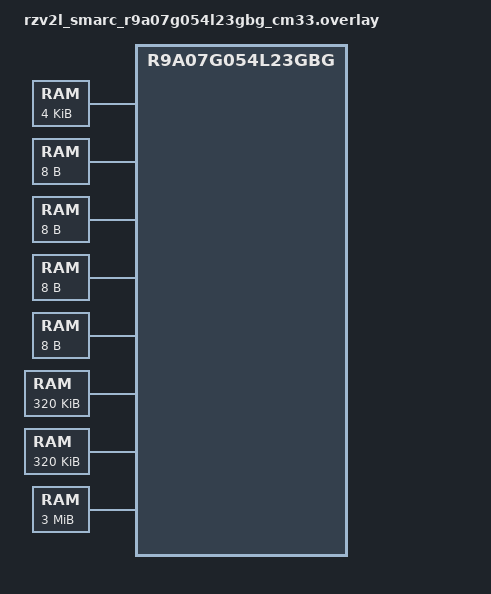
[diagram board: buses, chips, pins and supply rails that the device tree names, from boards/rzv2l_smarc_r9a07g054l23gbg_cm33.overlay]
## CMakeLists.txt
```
cmake_minimum_required(VERSION 3.28.0)
# Copyright (c) 2025 Renesas Electronics Corporation
#
# SPDX-License-Identifier: Apache-2.0
#

find_package(Zephyr REQUIRED HINTS $ENV{ZEPHYR_BASE})

project(openamp_linux_zephyr)

# METAL_MAX_DEVICE_REGIONS is used to give the number of memory regions shared
# between processors. By default only one region is defined for the vrings
# and rpmsg buffers. The METAL_MAX_DEVICE_REGIONS has to be redefined to add a
# second region for the resource table.
zephyr_compile_definitions(METAL_MAX_DEVICE_REGIONS=2)

target_include_directories(app PRIVATE ${LIBMETAL_INCLUDE_DIR} ${OPENAMP_INCLUDE_DIR} ${PLATFORM_DIR})
target_include_directories(app PRIVATE src)

target_sources(app PRIVATE src/resource_table.c src/main_remote.c)
```

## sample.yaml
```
sample:
  description: Enable message exchange between two cores, with the application core running Linux
   and the real-time core running Zephyr, using the OpenAMP library.
  name: OpenAMP Linux Zephyr RPMsg
tests:
  sample.boards.renesas.openamp_linux_zephyr:
    build_only: true
    platform_allow:
      - rzg3s_smarc/r9a08g045s33gbg/cm33
    integration_platforms:
      - rzg3s_smarc/r9a08g045s33gbg/cm33
    tags:
      - mbox
      - openamp
```

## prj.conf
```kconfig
CONFIG_KERNEL_BIN_NAME="openamp_linux_zephyr"
CONFIG_LOG=y
CONFIG_LOG_MODE_MINIMAL=y
CONFIG_MBOX=y
CONFIG_HEAP_MEM_POOL_SIZE=16384
CONFIG_OPENAMP=y
CONFIG_OPENAMP_RSC_TABLE=n
```

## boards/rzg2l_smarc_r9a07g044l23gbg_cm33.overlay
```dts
/*
 * Copyright (c) 2025 Renesas Electronics Corporation
 * SPDX-License-Identifier: Apache-2.0
 */

/ {
	/*
	 * Allocating whole openamp region as reserved memory
	 * to save MPU entries
	 */
	reserved-memory {
		#address-cells = <1>;
		#size-cells = <1>;
		ranges;

		openamp_shm: memory-region@62f00000 {
			compatible = "zephyr,memory-region";
			reg = <0x62f00000 0x900000>;
			zephyr,memory-region = "openamp_memory";
			zephyr,memory-attr = <DT_MEM_ARM(ATTR_MPU_IO)>;
		};
	};

	chosen {
		zephyr,ipc_shm = &vring_shm0;
		zephyr,ipc = &mbox_consumer;
	};

	/* Memory region for MBOX (MHU) driver */
	mhu_shmem: memory-region@62f01000 {
		compatible = "zephyr,memory-region";
		reg = <0x62f01000 0x1000>;
		zephyr,memory-region = "mhu_shmem";
	};

	vring_ctrl0: memory@63000000 {
		compatible = "mmio-sram";
		reg = <0x63000000 0x50000>;
	};

	vring_ctrl1: memory@63050000 {
		compatible = "mmio-sram";
		reg = <0x63050000 0x50000>;
	};

	vring_shm0: memory@63200000 {
		compatible = "mmio-sram";
		reg = <0x63200000 0x300000>;
	};

	rsctbl: memory@62f00000 {
		compatible = "mmio-sram";
		reg = <0x62f00000 0x1000>;
	};

	mbox_consumer: mbox-consumer {
		compatible = "vnd,mbox-consumer";
		mboxes = <&mbox1 0>, <&mbox1 0>;
		mbox-names = "tx", "rx";
	};
};

&mbox1 {
	status = "okay";
};
```

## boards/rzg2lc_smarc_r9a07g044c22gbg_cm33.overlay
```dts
/*
 * Copyright (c) 2025 Renesas Electronics Corporation
 * SPDX-License-Identifier: Apache-2.0
 */

/ {
	/*
	 * Allocating whole openamp region as reserved memory
	 * to save MPU entries
	 */
	reserved-memory {
		ranges;
		#address-cells = <1>;
		#size-cells = <1>;

		openamp_shm: memory-region@62f00000 {
			compatible = "zephyr,memory-region";
			reg = <0x62f00000 0x900000>;
			zephyr,memory-region = "openamp_memory";
			zephyr,memory-attr = <DT_MEM_ARM(ATTR_MPU_IO)>;
		};
	};

	chosen {
		zephyr,ipc_shm = &vring_shm0;
		zephyr,ipc = &mbox_consumer;
	};

	mbox_consumer: mbox-consumer {
		compatible = "vnd,mbox-consumer";
		mboxes = <&mbox1 0>, <&mbox1 0>;
		mbox-names = "tx", "rx";
	};

	rsctbl: memory@62f00000 {
		compatible = "mmio-sram";
		reg = <0x62f00000 0x1000>;
	};

	/* Memory region for MBOX (MHU) driver */
	mhu_shmem: memory-region@62f01000 {
		compatible = "zephyr,memory-region";
		reg = <0x62f01000 0x1000>;
		zephyr,memory-region = "mhu_shmem";
	};

	vring_ctrl0: memory@63000000 {
		compatible = "mmio-sram";
		reg = <0x63000000 0x50000>;
	};

	vring_ctrl1: memory@63050000 {
		compatible = "mmio-sram";
		reg = <0x63050000 0x50000>;
	};

	vring_shm0: memory@63200000 {
		compatible = "mmio-sram";
		reg = <0x63200000 0x300000>;
	};
};

&mbox1 {
	status = "okay";
};
```

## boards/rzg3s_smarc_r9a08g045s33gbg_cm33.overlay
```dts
/*
 * Copyright (c) 2024 Epam Systems
 * Copyright (c) 2024-2025 Renesas Electronics Corporation
 * SPDX-License-Identifier: Apache-2.0
 */

/ {
	/*
	 * Allocating whole openamp region as reserved memory
	 * to save MPU entries
	 */
	reserved-memory {
		ranges;
		#address-cells = <1>;
		#size-cells = <1>;

		openamp_shm: memory-region@62f00000 {
			compatible = "zephyr,memory-region";
			reg = <0x62f00000 0x600000>;
			zephyr,memory-region = "openamp_memory";
			zephyr,memory-attr = <DT_MEM_ARM(ATTR_MPU_IO)>;
		};
	};

	chosen {
		zephyr,ipc_shm = &vring_shm0;
		zephyr,ipc = &mbox_consumer;
	};

	mbox_consumer: mbox-consumer {
		compatible = "vnd,mbox-consumer";
		mboxes = <&mbox1 0>, <&mbox1 0>;
		mbox-names = "tx", "rx";
	};

	rsctbl: memory@62f00000 {
		compatible = "mmio-sram";
		reg = <0x62f00000 0x1000>;
	};

	/* Memory region for MBOX (MHU) driver */
	mhu_shmem: memory-region@62f01000 {
		compatible = "zephyr,memory-region";
		reg = <0x62f01000 0x1000>;
		zephyr,memory-region = "mhu_shmem";
	};

	vring_ctrl0: memory@63000000 {
		compatible = "mmio-sram";
		reg = <0x63000000 0x50000>;
	};

	vring_ctrl1: memory@63050000 {
		compatible = "mmio-sram";
		reg = <0x63050000 0x50000>;
	};

	vring_shm0: memory@63200000 {
		compatible = "mmio-sram";
		reg = <0x63200000 0x300000>;
	};
};

&mbox1 {
	status = "okay";
};
```

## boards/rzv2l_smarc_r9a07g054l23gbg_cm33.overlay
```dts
/*
 * Copyright (c) 2025 Renesas Electronics Corporation
 * SPDX-License-Identifier: Apache-2.0
 */

/ {
	/*
	 * Allocating whole openamp region as reserved memory
	 * to save MPU entries
	 */
	reserved-memory {
		ranges;
		#address-cells = <1>;
		#size-cells = <1>;

		openamp_shm: memory-region@62f00000 {
			compatible = "zephyr,memory-region";
			reg = <0x62f00000 0x900000>;
			zephyr,memory-region = "openamp_memory";
			zephyr,memory-attr = <DT_MEM_ARM(ATTR_MPU_IO)>;
		};
	};

	chosen {
		zephyr,ipc_shm = &vring_shm0;
		zephyr,ipc = &mbox_consumer;
	};

	mbox_consumer: mbox-consumer {
		compatible = "vnd,mbox-consumer";
		mboxes = <&mbox1 1>, <&mbox1 0>;
		mbox-names = "tx", "rx";
	};

	rsctbl: memory@62f00000 {
		compatible = "mmio-sram";
		reg = <0x62f00000 0x1000>;
	};

	mhu1_shm: memory@62f01008 {
		compatible = "mmio-sram";
		reg = <0x62f01008 0x8>;
	};

	mhu3_shm: memory@62f01018 {
		compatible = "mmio-sram";
		reg = <0x62f01018 0x8>;
	};

	mhu4_shm: memory@62f01020 {
		compatible = "mmio-sram";
		reg = <0x62f01020 0x8>;
	};

	mhu5_shm: memory@62f01028 {
		compatible = "mmio-sram";
		reg = <0x62f01028 0x8>;
	};

	vring_ctrl0: memory@63000000 {
		compatible = "mmio-sram";
		reg = <0x63000000 0x50000>;
	};

	vring_ctrl1: memory@63050000 {
		compatible = "mmio-sram";
		reg = <0x63050000 0x50000>;
	};

	vring_shm0: memory@63200000 {
		compatible = "mmio-sram";
		reg = <0x63200000 0x300000>;
	};
};

&mbox1 {
	shared-memory = <&mhu1_shm>;
	status = "okay";
};
```

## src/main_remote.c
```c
/*
 * Copyright (c) 2024 EPAM Systems
 * Copyright (c) 2024-2025 Renesas Electronics Corporation
 * SPDX-License-Identifier: Apache-2.0
 */

#include <zephyr/kernel.h>
#include <zephyr/device.h>
#include <string.h>
#include <stdio.h>
#include <stdlib.h>

#include <zephyr/drivers/mbox.h>

#include <openamp/open_amp.h>
#include <metal/device.h>
#include "resource_table.h"

#include <zephyr/logging/log.h>
LOG_MODULE_REGISTER(openamp_rsc_table);

#define SHM_DEVICE_NAME "shm"

#if !DT_HAS_CHOSEN(zephyr_ipc_shm)
#error "Sample requires definition of shared memory for rpmsg"
#endif

#define APP_EPT_ADDR 1024

#define SHUTDOWN_MSG (0xEF56A55A)

/* Constants derived from device tree */
#define SHM_NODE       DT_CHOSEN(zephyr_ipc_shm)
#define SHM_START_ADDR DT_REG_ADDR(SHM_NODE)
#define SHM_SIZE       DT_REG_SIZE(SHM_NODE)

#define RSC_TABLE_ADDR DT_REG_ADDR(DT_NODELABEL(rsctbl))

#define APP_TASK_STACK_SIZE (1024)

K_THREAD_STACK_DEFINE(thread_mng_stack, APP_TASK_STACK_SIZE);
K_THREAD_STACK_DEFINE(thread_rp__client_stack, APP_TASK_STACK_SIZE);

static struct k_thread thread_mng_data;
static struct k_thread thread_rp__client_data;

const struct mbox_dt_spec tx_channel = MBOX_DT_SPEC_GET(DT_CHOSEN(zephyr_ipc), tx);
const struct mbox_dt_spec rx_channel = MBOX_DT_SPEC_GET(DT_CHOSEN(zephyr_ipc), rx);

static metal_phys_addr_t shm_physmap = CM33_TO_A55_ADDR_NS(SHM_START_ADDR);
static metal_phys_addr_t rsc_physmap = RSC_TABLE_ADDR;

struct metal_device shm_device = {
	.name = SHM_DEVICE_NAME,
	.num_regions = 2,
	{
		{.virt = NULL}, /* shared memory */
		{.virt = NULL}, /* rsc_table memory */
	},
	.node = {NULL},
	.irq_num = 0,

};

struct rpmsg_rcv_msg {
	void *data;
	size_t len;
};

static struct metal_io_region *shm_io;
static struct rpmsg_virtio_shm_pool shpool;

static struct metal_io_region *rsc_io;
static struct rpmsg_virtio_device rvdev;

static void *rsc_table;
static struct rpmsg_device *rpdev;

static char rx_sc_msg[512];
static struct rpmsg_endpoint sc_ept;
static struct rpmsg_rcv_msg sc_msg = {.data = rx_sc_msg};

static K_SEM_DEFINE(data_sem, 0, 1);
static K_SEM_DEFINE(data_sc_sem, 0, 1);

static volatile int finish;

static void platform_mbox_callback(const struct device *dev, mbox_channel_id_t channel_id,
				   void *user_data, struct mbox_msg *data)
{
	k_sem_give(&data_sem);
}

static int rpmsg_recv_cs_callback(struct rpmsg_endpoint *ept, void *data, size_t len, uint32_t src,
				  void *priv)
{
	memcpy(sc_msg.data, data, len);
	sc_msg.len = len;
	if ((*(unsigned int *)data) == SHUTDOWN_MSG) {
		finish = 1;
	}
	k_sem_give(&data_sc_sem);

	return RPMSG_SUCCESS;
}

static void receive_message(unsigned char **msg, unsigned int *len)
{
	int status = k_sem_take(&data_sem, K_FOREVER);

	if (status == 0) {
		rproc_virtio_notified(rvdev.vdev, VRING1_ID);
	}
}

static void new_service_cb(struct rpmsg_device *rdev, const char *name, uint32_t src)
{
	LOG_INF("%s: message received from service %s", __func__, name);
}

int mailbox_notify(void *priv, uint32_t id)
{
	ARG_UNUSED(priv);
	mbox_send_dt(&tx_channel, NULL);
	return 0;
}

int platform_init(void)
{
	void *rsc_tab_addr;
	int rsc_size;
	struct metal_device *device;
	struct metal_init_params metal_params = METAL_INIT_DEFAULTS;
	int status;

	status = metal_init(&metal_params);
	if (status) {
		LOG_ERROR("metal_init: failed: %d", status);
		return -1;
	}

	status = metal_register_generic_device(&shm_device);
	if (status) {
		LOG_ERROR("Couldn't register shared memory: %d", status);
		return -1;
	}

	status = metal_device_open("generic", SHM_DEVICE_NAME, &device);
	if (status) {
		LOG_ERROR("metal_device_open failed: %d", status);
		return -1;
	}

	/* declare shared memory region */
	metal_io_init(&device->regions[0], (void *)SHM_START_ADDR, &shm_physmap, SHM_SIZE, -1, 0,
		      NULL);

	shm_io = metal_device_io_region(device, 0);
	if (!shm_io) {
		LOG_ERROR("Failed to get shm_io region");
		return -1;
	}

	/* declare resource table region */
	rsc_table_get(&rsc_tab_addr, &rsc_size);
	memcpy((void *)RSC_TABLE_ADDR, rsc_tab_addr, rsc_size);
	rsc_table = (struct st_resource_table *)RSC_TABLE_ADDR;

	metal_io_init(&device->regions[1], (void *)RSC_TABLE_ADDR, &rsc_physmap, rsc_size, -1, 0,
		      NULL);

	rsc_io = metal_device_io_region(device, 1);
	if (!rsc_io) {
		LOG_ERROR("Failed to get rsc_io region");
		return -1;
	}

	/* Setup MBOX */
	if (!mbox_is_ready_dt(&tx_channel)) {
		LOG_ERROR("MBOX TX device is not ready");
		return -1;
	}

	if (!mbox_is_ready_dt(&rx_channel)) {
		LOG_ERROR("MBOX RX device is not ready");
		return -1;
	}

	mbox_register_callback_dt(&rx_channel, platform_mbox_callback, NULL);

	status = mbox_set_enabled_dt(&rx_channel, true);
	if (status) {
		LOG_ERROR("mbox_set_enabled_dt failed");
		return -1;
	}

	return 0;
}

static void platform_deinit(void)
{
	mbox_set_enabled_dt(&rx_channel, false);

	metal_finish();
}

static void cleanup_system(void)
{
	struct fw_resource_table *rsc_tbl = (struct fw_resource_table *)RSC_TABLE_ADDR;
	rpmsg_deinit_vdev(&rvdev);
	rproc_virtio_remove_vdev(rvdev.vdev);
	/*
	 * Clean vdev status in rsc_table because it may not be cleared from
	 * master end. This is not default work behavior. By default rsc_table
	 * should be provided and managed by master.
	 */
	rsc_tbl->vdev.status = 0;
}

struct rpmsg_device *platform_create_rpmsg_vdev(unsigned int vdev_index, unsigned int role,
						void (*rst_cb)(struct virtio_device *vdev),
						rpmsg_ns_bind_cb ns_cb)
{
	struct fw_rsc_vdev_vring *vring_rsc;
	struct virtio_device *vdev;
	int ret;

	vdev = rproc_virtio_create_vdev(VIRTIO_DEV_DEVICE, VDEV_ID, rsc_table_to_vdev(rsc_table),
					rsc_io, NULL, mailbox_notify, NULL);

	if (!vdev) {
		LOG_ERROR("failed to create vdev");
		return NULL;
	}

	/* wait master rpmsg init completion */
	rproc_virtio_wait_remote_ready(vdev);

	vring_rsc = rsc_table_get_vring0(rsc_table);

	ret = rproc_virtio_init_vring(vdev, 0, vring_rsc->notifyid, (void *)VRING_TX_ADDR_CM33,
				      rsc_io, vring_rsc->num, vring_rsc->align);
	if (ret) {
		LOG_ERROR("failed to init vring 0");
		goto failed;
	}

	vring_rsc = rsc_table_get_vring1(rsc_table);

	ret = rproc_virtio_init_vring(vdev, 1, vring_rsc->notifyid, (void *)VRING_RX_ADDR_CM33,
				      rsc_io, vring_rsc->num, vring_rsc->align);
	if (ret) {
		LOG_ERROR("failed to init vring 1");
		goto failed;
	}

	/* Set gfeatures because they should be equal to dfeatures
	 * when create_ept is called. As rproc_virtio_create_vdev
	 * doesn't set them because its VIRTIO_DEVICE not DRIVER.
	 * Assume the virtio driver support all remote features.
	 */
	virtio_set_features(vdev, 0x1);

	rpmsg_virtio_init_shm_pool(&shpool, NULL, SHM_SIZE);
	ret = rpmsg_init_vdev(&rvdev, vdev, ns_cb, shm_io, &shpool);

	if (ret) {
		LOG_ERROR("failed rpmsg_init_vdev");
		goto failed;
	}

	return rpmsg_virtio_get_rpmsg_device(&rvdev);

failed:
	rproc_virtio_remove_vdev(vdev);

	return NULL;
}

void app_rpmsg_client_sample(void *arg1, void *arg2, void *arg3)
{
	ARG_UNUSED(arg1);
	ARG_UNUSED(arg2);
	ARG_UNUSED(arg3);
	unsigned int msg_cnt = 0;
	int ret = 0;

	k_sem_take(&data_sc_sem, K_FOREVER);

	LOG_INF("OpenAMP[remote] Linux sample client responder started");

	ret = rpmsg_create_ept(&sc_ept, rpdev, "rpmsg-service-0", APP_EPT_ADDR, RPMSG_ADDR_ANY,
			       rpmsg_recv_cs_callback, NULL);

	while (!finish) {
		k_sem_take(&data_sc_sem, K_FOREVER);
		msg_cnt++;
		rpmsg_send(&sc_ept, sc_msg.data, sc_msg.len);
	}

	rpmsg_destroy_ept(&sc_ept);
	k_sem_reset(&data_sc_sem);

	LOG_INF("OpenAMP Linux sample client responder ended");
}

void rpmsg_mng_task(void *arg1, void *arg2, void *arg3)
{
	ARG_UNUSED(arg1);
	ARG_UNUSED(arg2);
	ARG_UNUSED(arg3);
	unsigned char *msg;
	unsigned int len;
	int ret = 0;

	LOG_INF("OpenAMP[remote]  linux responder demo started");

	/* Initialize platform */
	rpdev = platform_create_rpmsg_vdev(0, VIRTIO_DEV_DEVICE, NULL, new_service_cb);
	if (!rpdev) {
		LOG_ERROR("Failed to create rpmsg virtio device");
		ret = -1;
		goto task_end;
	}

	/* start the rpmsg clients */
	k_sem_give(&data_sc_sem);

	while (!finish) {
		receive_message(&msg, &len);
	}

task_end:
	cleanup_system();

	LOG_INF("OpenAMP demo ended");
}

int main(void)
{
	LOG_INF("Starting application..!");

	/* Initialize platform */
	int ret = platform_init();

	if (ret) {
		LOG_ERROR("Failed to initialize platform");
		return -1;
	}

	while (1) {
		finish = 0;

		LOG_INF("Starting application threads!");
		k_thread_create(&thread_mng_data, thread_mng_stack, APP_TASK_STACK_SIZE,
				(k_thread_entry_t)rpmsg_mng_task, NULL, NULL, NULL, K_PRIO_COOP(8),
				0, K_NO_WAIT);
		k_thread_create(&thread_rp__client_data, thread_rp__client_stack,
				APP_TASK_STACK_SIZE, (k_thread_entry_t)app_rpmsg_client_sample,
				NULL, NULL, NULL, K_PRIO_COOP(7), 0, K_NO_WAIT);

		k_thread_join(&thread_mng_data, K_FOREVER);
		k_thread_join(&thread_rp__client_data, K_FOREVER);
	}

	platform_deinit();
	return 0;
}
```

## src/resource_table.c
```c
/*
 * Copyright (c) 2024 EPAM Systems
 * Copyright (c) 2024 Renesas Electronics Corporation
 * SPDX-License-Identifier: Apache-2.0
 */

/*
 * Overriding Zephyr resource_table and set correct vring 0 and vring 1 addresses
 * to match the work behaviour of master device. According to the commit:
 * 25ec73986b (lib: open-amp: add helper to add resource table in project)
 * vring RX and TX addresses should be allocated by master processor.
 * Current Master Sample implementation expects slave to provide valid
 * rsc_table so update vring addresses here.
 *
 * Dependencies:
 *   to be compliant with Linux kernel OS the resource table must be linked in a
 *   specific section named ".resource_table".
 */

#include <zephyr/kernel.h>
#include <resource_table.h>

#define __resource Z_GENERIC_SECTION(.resource_table)

static struct fw_resource_table __resource resource_table = {
	.ver = 1,
	.num = RSC_TABLE_NUM_ENTRY,
	.reserved = {0, 0},
	/* Offset */
	{
		offsetof(struct fw_resource_table, vdev),
	},
	/* Virtio device entry */
	{
		RSC_VDEV,
		VIRTIO_ID_RPMSG,
		0,
		RPMSG_IPU_C0_FEATURES,
		0,
		0,
		0,
		VRING_COUNT,
		{0, 0},
	},
	/* Vring rsc entry - part of vdev rsc entry */
	.vring0 = {VRING_TX_ADDR_A55, VRING_ALIGNMENT, RSC_TABLE_NUM_RPMSG_BUFF, VRING0_ID, 0},
	.vring1 = {VRING_RX_ADDR_A55, VRING_ALIGNMENT, RSC_TABLE_NUM_RPMSG_BUFF, VRING1_ID, 0},
};

void rsc_table_get(void **table_ptr, int *length)
{
	*table_ptr = (void *)&resource_table;
	*length = sizeof(resource_table);
}
```

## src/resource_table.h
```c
/*
 * Copyright (c) 2024 EPAM Systems
 * Copyright (c) 2024 Renesas Electronics Corporation
 * SPDX-License-Identifier: Apache-2.0
 */

#ifndef RESOURCE_TABLE_H__
#define RESOURCE_TABLE_H__

#include <openamp/remoteproc.h>
#include <openamp/virtio.h>

#ifdef __cplusplus
extern "C" {
#endif

#define VDEV_ID   0xFF
#define VRING0_ID 0
#define VRING1_ID 1

#define VRING_COUNT           2
#define RPMSG_IPU_C0_FEATURES 1

#define R_VRING_TX         DT_NODELABEL(vring_ctrl0)
#define R_VRING_RX         DT_NODELABEL(vring_ctrl1)
#define VRING_TX_ADDR_CM33 DT_REG_ADDR(R_VRING_TX)
#define VRING_RX_ADDR_CM33 DT_REG_ADDR(R_VRING_RX)

/*
 * Macro to convert across CM33/CM33_FPU and A55 address spaces
 * This macro are designed to convert CM33 addresses to A55 addresses
 * in secure and non-secure space. According to Table 5.2 of HW Manual.
 */
#ifndef _ASMLANGUAGE

#define CM33_ADDRESS_OFFSET_SECURE    (0x30000000)
#define CM33_ADDRESS_OFFSET_NONSECURE (0x20000000)
#define CM33_TO_A55_ADDR_S(x)         ((x) - CM33_ADDRESS_OFFSET_SECURE)
#define CM33_TO_A55_ADDR_NS(x)        ((x) - CM33_ADDRESS_OFFSET_NONSECURE)

#endif
/* End of convert macro */

#define VRING_TX_ADDR_A55 CM33_TO_A55_ADDR_NS(VRING_TX_ADDR_CM33)
#define VRING_RX_ADDR_A55 CM33_TO_A55_ADDR_NS(VRING_RX_ADDR_CM33)
#define VRING_ALIGNMENT   (0x100U)

#define RSC_TABLE_NUM_RPMSG_BUFF 512

enum rsc_table_entries {
	RSC_TABLE_VDEV_ENTRY,
	RSC_TABLE_NUM_ENTRY
};

struct fw_resource_table {
	unsigned int ver;
	unsigned int num;
	unsigned int reserved[2];
	unsigned int offset[RSC_TABLE_NUM_ENTRY];

	struct fw_rsc_vdev vdev;
	struct fw_rsc_vdev_vring vring0;
	struct fw_rsc_vdev_vring vring1;
} METAL_PACKED_END;

void rsc_table_get(void **table_ptr, int *length);

static inline struct fw_rsc_vdev *rsc_table_to_vdev(void *rsc_table)
{
	return &((struct fw_resource_table *)rsc_table)->vdev;
}

static inline struct fw_rsc_vdev_vring *rsc_table_get_vring0(void *rsc_table)
{
	return &((struct fw_resource_table *)rsc_table)->vring0;
}

static inline struct fw_rsc_vdev_vring *rsc_table_get_vring1(void *rsc_table)
{
	return &((struct fw_resource_table *)rsc_table)->vring1;
}

#ifdef __cplusplus
}
#endif

#endif
```
